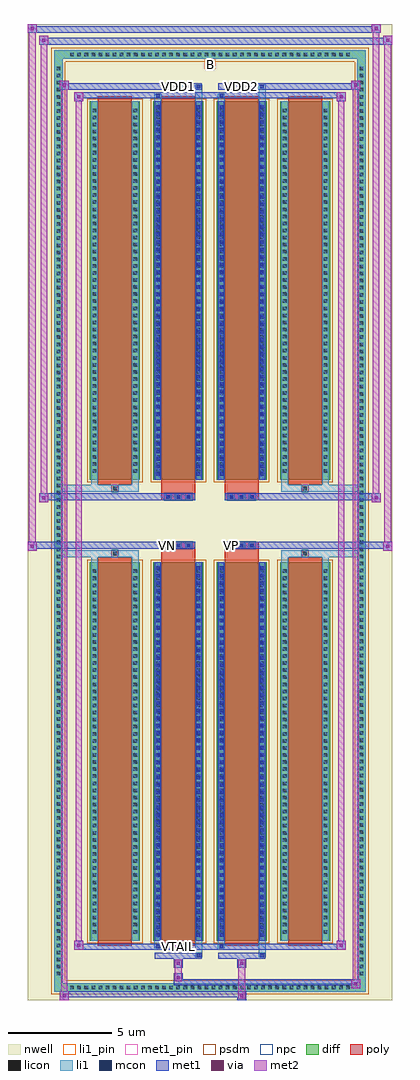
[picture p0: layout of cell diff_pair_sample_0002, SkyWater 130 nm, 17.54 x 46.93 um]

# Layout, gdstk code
import gdstk
lib = gdstk.Library(unit=1e-6, precision=5e-09)
def R(c, l, rs):  # rectangles x0, y0, x1, y1
    for r in rs: c.add(gdstk.rectangle(r[:2], r[2:], *l))
def A(c, l, x, y, w, h, nx, ny, dx, dy):  # array of equal rectangles
    R(c, l, [(x+i*dx, y+j*dy, x+i*dx+w, y+j*dy+h) for i in range(nx) for j in range(ny)])
def P(c, l, *ps):  # polygons
    for p in ps: c.add(gdstk.Polygon(p, *l))
nwell = (64, 20)
diff = (65, 20)
poly = (66, 20)
licon = (66, 44)
li1_pin = (67, 16)
li1 = (67, 20)
mcon = (67, 44)
met1_pin = (68, 16)
met1 = (68, 20)
via = (68, 44)
met2 = (69, 20)
psdm = (94, 20)
npc = (95, 20)

diff_pair_sample_0002 = lib.new_cell('diff_pair_sample_0002')
R(diff_pair_sample_0002, nwell, [(-8.77,-23.03,8.77,23.9), (-6.09,-21.22,-0.01,-0.8), (0.01,-21.22,6.09,-0.8), (-6.09,0.8,-0.01,21.22), (0.01,0.8,6.09,21.22)])
A(diff_pair_sample_0002, diff, -6.835, -22.63, 0.41, 0.41, 40, 2, 0.34, 44.85)
A(diff_pair_sample_0002, diff, -7.5, -21.965, 0.41, 0.41, 1, 129, 0, 0.34)
A(diff_pair_sample_0002, diff, 7.09, -21.965, 0.41, 0.41, 1, 129, 0, 0.34)
A(diff_pair_sample_0002, diff, -5.78, -20.175, 2.41, 18.19, 4, 2, 3.05, 22.16)
R(diff_pair_sample_0002, diff, [(-6.835,-22.63,6.835,-22.22), (-7.5,-21.965,-7.09,21.965), (7.09,-21.965,7.5,21.965), (-6.835,22.22,6.835,22.63)])
P(diff_pair_sample_0002, diff, [(7.5,22.63),(-7.5,22.63),(-7.5,-22.22),(-7.09,-22.22),(-7.09,22.22),(7.09,22.22),(7.09,-22.22),(-7.09,-22.22),(-7.5,-22.22),(-7.5,-22.63),(7.5,-22.63)])
A(diff_pair_sample_0002, poly, -5.39, -20.425, 1.63, 18.69, 4, 2, 3.05, 22.16)
A(diff_pair_sample_0002, poly, -2.19, -1.33, 0.33, 0.33, 3, 2, 0.5, 2.33)
A(diff_pair_sample_0002, poly, 0.86, -1.33, 0.33, 0.33, 3, 2, 0.5, 2.33)
R(diff_pair_sample_0002, poly, [(-4.74,-1.735,-4.41,-1.405), (-4.74,-1.735,-4.41,-1.405), (-2.34,-1.735,-0.71,-1.33), (0.71,-1.735,2.34,-1.33), (4.41,-1.735,4.74,-1.405), (4.41,-1.735,4.74,-1.405), (-2.34,-1.33,-0.71,-1), (0.71,-1.33,2.34,-1), (-2.34,1,-0.71,1.33), (0.71,1,2.34,1.33), (-2.34,1.33,-0.71,1.735), (0.71,1.33,2.34,1.735), (-4.74,1.405,-4.41,1.735), (-4.74,1.405,-4.41,1.735), (4.41,1.405,4.74,1.735), (4.41,1.405,4.74,1.735)])
A(diff_pair_sample_0002, licon, -6.715, -22.51, 0.17, 0.17, 40, 2, 0.34, 44.85)
A(diff_pair_sample_0002, licon, -7.38, -21.845, 0.17, 0.17, 1, 129, 0, 0.34)
A(diff_pair_sample_0002, licon, 7.21, -21.845, 0.17, 0.17, 1, 129, 0, 0.34)
A(diff_pair_sample_0002, licon, -5.64, -19.835, 0.17, 0.17, 1, 52, 0, 0.34)
A(diff_pair_sample_0002, licon, -3.68, -19.835, 0.17, 0.17, 1, 52, 0, 0.34)
A(diff_pair_sample_0002, licon, -2.59, -19.835, 0.17, 0.17, 1, 52, 0, 0.34)
A(diff_pair_sample_0002, licon, -0.63, -19.835, 0.17, 0.17, 1, 52, 0, 0.34)
A(diff_pair_sample_0002, licon, 0.46, -19.835, 0.17, 0.17, 1, 52, 0, 0.34)
A(diff_pair_sample_0002, licon, 2.42, -19.835, 0.17, 0.17, 1, 52, 0, 0.34)
A(diff_pair_sample_0002, licon, 3.51, -19.835, 0.17, 0.17, 1, 52, 0, 0.34)
A(diff_pair_sample_0002, licon, 5.47, -19.835, 0.17, 0.17, 1, 52, 0, 0.34)
A(diff_pair_sample_0002, licon, -2.11, -1.25, 0.17, 0.17, 3, 2, 0.5, 2.33)
A(diff_pair_sample_0002, licon, 0.94, -1.25, 0.17, 0.17, 3, 2, 0.5, 2.33)
A(diff_pair_sample_0002, licon, -5.64, 2.325, 0.17, 0.17, 1, 52, 0, 0.34)
A(diff_pair_sample_0002, licon, -3.68, 2.325, 0.17, 0.17, 1, 52, 0, 0.34)
A(diff_pair_sample_0002, licon, -2.59, 2.325, 0.17, 0.17, 1, 52, 0, 0.34)
A(diff_pair_sample_0002, licon, -0.63, 2.325, 0.17, 0.17, 1, 52, 0, 0.34)
A(diff_pair_sample_0002, licon, 0.46, 2.325, 0.17, 0.17, 1, 52, 0, 0.34)
A(diff_pair_sample_0002, licon, 2.42, 2.325, 0.17, 0.17, 1, 52, 0, 0.34)
A(diff_pair_sample_0002, licon, 3.51, 2.325, 0.17, 0.17, 1, 52, 0, 0.34)
A(diff_pair_sample_0002, licon, 5.47, 2.325, 0.17, 0.17, 1, 52, 0, 0.34)
R(diff_pair_sample_0002, licon, [(-4.66,-1.655,-4.49,-1.485), (4.49,-1.655,4.66,-1.485), (-4.66,1.485,-4.49,1.655), (4.49,1.485,4.66,1.655)])
R(diff_pair_sample_0002, li1_pin, [(-0.25,21.72,0.25,22.22)])
A(diff_pair_sample_0002, li1, -6.795, -22.59, 0.33, 0.33, 40, 2, 0.34, 44.85)
A(diff_pair_sample_0002, li1, -7.46, -21.925, 0.33, 0.33, 1, 129, 0, 0.34)
A(diff_pair_sample_0002, li1, 7.13, -21.925, 0.33, 0.33, 1, 129, 0, 0.34)
A(diff_pair_sample_0002, li1, -2.59, -19.985, 0.17, 0.17, 1, 50, 0, 0.36)
A(diff_pair_sample_0002, li1, -0.63, -19.985, 0.17, 0.17, 1, 50, 0, 0.36)
A(diff_pair_sample_0002, li1, 0.46, -19.985, 0.17, 0.17, 1, 50, 0, 0.36)
A(diff_pair_sample_0002, li1, 2.42, -19.985, 0.17, 0.17, 1, 50, 0, 0.36)
A(diff_pair_sample_0002, li1, -5.72, -19.915, 0.33, 0.33, 1, 52, 0, 0.34)
A(diff_pair_sample_0002, li1, -3.76, -19.915, 0.33, 0.33, 1, 52, 0, 0.34)
A(diff_pair_sample_0002, li1, -2.67, -19.915, 0.33, 0.33, 1, 52, 0, 0.34)
A(diff_pair_sample_0002, li1, -0.71, -19.915, 0.33, 0.33, 1, 52, 0, 0.34)
A(diff_pair_sample_0002, li1, 0.38, -19.915, 0.33, 0.33, 1, 52, 0, 0.34)
A(diff_pair_sample_0002, li1, 2.34, -19.915, 0.33, 0.33, 1, 52, 0, 0.34)
A(diff_pair_sample_0002, li1, 3.43, -19.915, 0.33, 0.33, 1, 52, 0, 0.34)
A(diff_pair_sample_0002, li1, 5.39, -19.915, 0.33, 0.33, 1, 52, 0, 0.34)
A(diff_pair_sample_0002, li1, -2.19, -1.33, 0.33, 0.33, 3, 2, 0.5, 2.33)
A(diff_pair_sample_0002, li1, 0.86, -1.33, 0.33, 0.33, 3, 2, 0.5, 2.33)
A(diff_pair_sample_0002, li1, -2.59, 2.175, 0.17, 0.17, 1, 50, 0, 0.36)
A(diff_pair_sample_0002, li1, -0.63, 2.175, 0.17, 0.17, 1, 50, 0, 0.36)
A(diff_pair_sample_0002, li1, 0.46, 2.175, 0.17, 0.17, 1, 50, 0, 0.36)
A(diff_pair_sample_0002, li1, 2.42, 2.175, 0.17, 0.17, 1, 50, 0, 0.36)
A(diff_pair_sample_0002, li1, -5.72, 2.245, 0.33, 0.33, 1, 52, 0, 0.34)
A(diff_pair_sample_0002, li1, -3.76, 2.245, 0.33, 0.33, 1, 52, 0, 0.34)
A(diff_pair_sample_0002, li1, -2.67, 2.245, 0.33, 0.33, 1, 52, 0, 0.34)
A(diff_pair_sample_0002, li1, -0.71, 2.245, 0.33, 0.33, 1, 52, 0, 0.34)
A(diff_pair_sample_0002, li1, 0.38, 2.245, 0.33, 0.33, 1, 52, 0, 0.34)
A(diff_pair_sample_0002, li1, 2.34, 2.245, 0.33, 0.33, 1, 52, 0, 0.34)
A(diff_pair_sample_0002, li1, 3.43, 2.245, 0.33, 0.33, 1, 52, 0, 0.34)
A(diff_pair_sample_0002, li1, 5.39, 2.245, 0.33, 0.33, 1, 52, 0, 0.34)
R(diff_pair_sample_0002, li1, [(-7.5,-22.63,-7.09,-22.22), (-7.5,-22.63,-7.09,-22.22), (-7.09,-22.63,7.09,-22.22), (7.09,-22.63,7.5,-22.22), (7.09,-22.63,7.5,-22.22), (-7.5,-22.22,-7.09,22.22), (7.09,-22.22,7.5,22.22), (-0.71,-20.98,-0.38,-20.175), (-0.63,-20.98,-0.46,-20.81), (2.34,-20.98,2.67,-20.175), (2.42,-20.98,2.59,-20.81), (-2.67,-20.55,-2.34,-20.175), (-2.59,-20.55,-2.42,-20.38), (0.38,-20.55,0.71,-20.175), (0.46,-20.55,0.63,-20.38), (-5.72,-20.175,-5.39,-1.985), (-3.76,-20.175,-3.43,-1.985), (-2.67,-20.175,-2.34,-1.985), (-0.71,-20.175,-0.38,-1.985), (0.38,-20.175,0.71,-1.985), (2.34,-20.175,2.67,-1.985), (3.43,-20.175,3.76,-1.985), (5.39,-20.175,5.72,-1.985), (-2.59,-19.985,-2.42,-2.175), (-0.63,-19.985,-0.46,-2.175), (0.46,-19.985,0.63,-2.175), (2.42,-19.985,2.59,-2.175), (-5.72,-1.985,-5.39,-1.405), (-3.76,-1.985,-3.43,-1.405), (3.43,-1.985,3.76,-1.405), (5.39,-1.985,5.72,-1.405), (-7.5,-1.735,-4.74,-1.405), (-5.72,-1.735,-4.74,-1.405), (-4.74,-1.735,-4.41,-1.405), (-4.41,-1.735,-3.43,-1.405), (3.43,-1.735,4.41,-1.405), (4.41,-1.735,4.74,-1.405), (4.41,-1.735,7.5,-1.405), (4.74,-1.735,5.72,-1.405), (-7.5,1.405,-4.74,1.735), (-5.72,1.405,-4.74,1.735), (-5.72,1.405,-5.39,1.985), (-4.74,1.405,-4.41,1.735), (-4.41,1.405,-3.43,1.735), (-3.76,1.405,-3.43,1.985), (3.43,1.405,4.41,1.735), (3.43,1.405,3.76,1.985), (4.41,1.405,4.74,1.735), (4.41,1.405,7.5,1.735), (4.74,1.405,5.72,1.735), (5.39,1.405,5.72,1.985), (-5.72,1.985,-5.39,20.175), (-3.76,1.985,-3.43,20.175), (-2.67,1.985,-2.34,20.175), (-0.71,1.985,-0.38,20.175), (0.38,1.985,0.71,20.175), (2.34,1.985,2.67,20.175), (3.43,1.985,3.76,20.175), (5.39,1.985,5.72,20.175), (-2.59,2.175,-2.42,19.985), (-0.63,2.175,-0.46,19.985), (0.46,2.175,0.63,19.985), (2.42,2.175,2.59,19.985), (-2.67,20.175,-2.34,20.55), (-0.71,20.175,-0.38,20.98), (0.38,20.175,0.71,20.55), (2.34,20.175,2.67,20.98), (-2.59,20.38,-2.42,20.55), (0.46,20.38,0.63,20.55), (-0.63,20.81,-0.46,20.98), (2.42,20.81,2.59,20.98), (-7.5,22.22,-7.09,22.63), (-7.5,22.22,-7.09,22.63), (-7.09,22.22,7.09,22.63), (7.09,22.22,7.5,22.63), (7.09,22.22,7.5,22.63)])
A(diff_pair_sample_0002, mcon, -2.59, -19.985, 0.17, 0.17, 1, 50, 0, 0.36)
A(diff_pair_sample_0002, mcon, -0.63, -19.985, 0.17, 0.17, 1, 50, 0, 0.36)
A(diff_pair_sample_0002, mcon, 0.46, -19.985, 0.17, 0.17, 1, 50, 0, 0.36)
A(diff_pair_sample_0002, mcon, 2.42, -19.985, 0.17, 0.17, 1, 50, 0, 0.36)
A(diff_pair_sample_0002, mcon, -2.11, -1.25, 0.17, 0.17, 3, 2, 0.5, 2.33)
A(diff_pair_sample_0002, mcon, 0.94, -1.25, 0.17, 0.17, 3, 2, 0.5, 2.33)
A(diff_pair_sample_0002, mcon, -2.59, 2.175, 0.17, 0.17, 1, 50, 0, 0.36)
A(diff_pair_sample_0002, mcon, -0.63, 2.175, 0.17, 0.17, 1, 50, 0, 0.36)
A(diff_pair_sample_0002, mcon, 0.46, 2.175, 0.17, 0.17, 1, 50, 0, 0.36)
A(diff_pair_sample_0002, mcon, 2.42, 2.175, 0.17, 0.17, 1, 50, 0, 0.36)
R(diff_pair_sample_0002, mcon, [(-0.63,-20.98,-0.46,-20.81), (2.42,-20.98,2.59,-20.81), (-2.59,-20.55,-2.42,-20.38), (0.46,-20.55,0.63,-20.38), (-2.59,20.38,-2.42,20.55), (0.46,20.38,0.63,20.55), (-0.63,20.81,-0.46,20.98), (2.42,20.81,2.59,20.98)])
R(diff_pair_sample_0002, met1_pin, [(-1.66,-20.59,-1.39,-20.32), (-2.16,-1.29,-1.89,-1.02), (0.89,-1.29,1.16,-1.02), (-1.66,20.77,-1.39,21.04), (1.39,20.77,1.66,21.04)])
A(diff_pair_sample_0002, met1, -2.65, -20.045, 0.29, 0.29, 1, 50, 0, 0.36)
A(diff_pair_sample_0002, met1, -0.69, -20.045, 0.29, 0.29, 1, 50, 0, 0.36)
A(diff_pair_sample_0002, met1, 0.4, -20.045, 0.29, 0.29, 1, 50, 0, 0.36)
A(diff_pair_sample_0002, met1, 2.36, -20.045, 0.29, 0.29, 1, 50, 0, 0.36)
A(diff_pair_sample_0002, met1, -2.17, -1.31, 0.29, 0.29, 3, 2, 0.5, 2.33)
A(diff_pair_sample_0002, met1, 0.88, -1.31, 0.29, 0.29, 3, 2, 0.5, 2.33)
A(diff_pair_sample_0002, met1, -2.65, 2.115, 0.29, 0.29, 1, 50, 0, 0.36)
A(diff_pair_sample_0002, met1, -0.69, 2.115, 0.29, 0.29, 1, 50, 0, 0.36)
A(diff_pair_sample_0002, met1, 0.4, 2.115, 0.29, 0.29, 1, 50, 0, 0.36)
A(diff_pair_sample_0002, met1, 2.36, 2.115, 0.29, 0.29, 1, 50, 0, 0.36)
R(diff_pair_sample_0002, met1, [(-7.23,-23.03,-6.8,-22.6), (1.31,-23.03,1.74,-22.6), (-7.23,-22.89,1.74,-22.6), (6.8,-22.46,7.23,-22.03), (-1.74,-22.32,7.23,-22.03), (-1.74,-22.18,-1.31,-21.75), (-1.74,-21.47,-1.31,-21.04), (1.31,-21.47,1.74,-21.04), (-2.65,-21.04,-0.4,-20.75), (-0.69,-21.04,-0.4,-20.75), (0.4,-21.04,2.65,-20.75), (2.36,-21.04,2.65,-20.75), (-6.52,-20.61,-6.09,-20.18), (-6.52,-20.61,-2.65,-20.32), (-2.65,-20.61,-2.36,-20.32), (-2.65,-20.61,-0.4,-20.32), (-0.4,-20.61,0.4,-20.32), (0.4,-20.61,0.69,-20.32), (0.4,-20.61,2.65,-20.32), (2.65,-20.61,6.52,-20.32), (6.09,-20.61,6.52,-20.18), (-2.65,-20.175,-2.36,-1.985), (-0.69,-20.175,-0.4,-1.985), (0.4,-20.175,0.69,-1.985), (2.36,-20.175,2.65,-1.985), (-8.77,-1.43,-8.34,-1), (8.34,-1.43,8.77,-1), (-8.77,-1.33,-0.71,-1), (-2.34,-1.33,-0.71,-1), (0.71,-1.33,2.34,-1), (0.71,-1.33,8.77,-1), (-8.2,0.9,-7.77,1.33), (7.77,0.9,8.2,1.33), (-8.2,1,-2.34,1.33), (-2.34,1,-0.71,1.33), (0.71,1,2.34,1.33), (2.34,1,8.2,1.33), (-2.65,1.985,-2.36,20.175), (-0.69,1.985,-0.4,20.175), (0.4,1.985,0.69,20.175), (2.36,1.985,2.65,20.175), (-6.52,20.18,-6.09,20.61), (6.09,20.18,6.52,20.61), (-6.52,20.32,-2.65,20.61), (-2.65,20.32,-2.36,20.61), (-2.65,20.32,-0.4,20.61), (-0.4,20.32,0.4,20.61), (0.4,20.32,0.69,20.61), (0.4,20.32,2.65,20.61), (2.65,20.32,6.52,20.61), (-7.23,20.75,-6.8,21.18), (-7.23,20.75,-2.65,21.04), (-2.65,20.75,-0.4,21.04), (-0.69,20.75,-0.4,21.04), (0.4,20.75,2.65,21.04), (2.36,20.75,2.65,21.04), (2.65,20.75,7.23,21.04), (6.8,20.75,7.23,21.18), (-8.2,22.9,-7.77,23.33), (-8.2,22.9,-6.09,23.23), (-6.09,22.9,6.09,23.23), (6.09,22.9,8.77,23.23), (8.34,22.9,8.77,23.33), (-8.77,23.47,-8.34,23.9), (-8.77,23.47,-6.09,23.8), (-6.09,23.47,6.09,23.8), (6.09,23.47,8.2,23.8), (7.77,23.47,8.2,23.9)])
R(diff_pair_sample_0002, via, [(-7.09,-22.89,-6.94,-22.74), (1.45,-22.89,1.6,-22.74), (6.94,-22.32,7.09,-22.17), (-1.6,-22.04,-1.45,-21.89), (-1.6,-21.33,-1.45,-21.18), (1.45,-21.33,1.6,-21.18), (-6.38,-20.47,-6.23,-20.32), (6.23,-20.47,6.38,-20.32), (-8.63,-1.29,-8.48,-1.14), (8.48,-1.29,8.63,-1.14), (-8.06,1.04,-7.91,1.19), (7.91,1.04,8.06,1.19), (-6.38,20.32,-6.23,20.47), (6.23,20.32,6.38,20.47), (-7.09,20.89,-6.94,21.04), (6.94,20.89,7.09,21.04), (-8.06,23.04,-7.91,23.19), (8.48,23.04,8.63,23.19), (-8.63,23.61,-8.48,23.76), (7.91,23.61,8.06,23.76)])
R(diff_pair_sample_0002, met2, [(-7.23,-23.03,-6.8,-22.6), (-7.16,-23.03,-6.87,21.18), (-6.87,-23.03,-6.8,-22.6), (-7.18,-22.98,-6.85,-22.65), (1.36,-22.98,1.69,-22.65), (1.36,-22.65,1.69,-21.42), (6.8,-22.46,7.23,-22.03), (6.87,-22.46,7.16,21.18), (7.16,-22.46,7.23,-22.03), (6.85,-22.41,7.18,-22.08), (-1.69,-22.13,-1.36,-21.8), (-1.69,-21.8,-1.36,-21.42), (-1.69,-21.42,-1.36,-21.09), (1.36,-21.42,1.69,-21.09), (-6.52,-20.61,-6.09,-20.18), (-6.45,-20.61,-6.16,20.61), (-6.16,-20.61,-6.09,-20.18), (6.09,-20.61,6.52,-20.18), (6.16,-20.61,6.45,20.61), (6.45,-20.61,6.52,-20.18), (-6.47,-20.56,-6.14,-20.23), (6.14,-20.56,6.47,-20.23), (-8.77,-1.43,-8.34,-1), (-8.72,-1.43,-8.39,23.9), (-8.39,-1.43,-8.34,-1), (8.34,-1.43,8.77,-1), (8.39,-1.43,8.72,23.33), (8.72,-1.43,8.77,-1), (-8.72,-1.38,-8.39,-1.05), (8.39,-1.38,8.72,-1.05), (-8.2,0.9,-7.77,1.33), (-8.15,0.9,-7.82,23.33), (-7.82,0.9,-7.77,1.33), (7.77,0.9,8.2,1.33), (7.82,0.9,8.15,23.9), (8.15,0.9,8.2,1.33), (-8.15,0.95,-7.82,1.28), (7.82,0.95,8.15,1.28), (-6.52,20.18,-6.09,20.61), (-6.16,20.18,-6.09,20.61), (6.09,20.18,6.52,20.61), (6.45,20.18,6.52,20.61), (-6.47,20.23,-6.14,20.56), (6.14,20.23,6.47,20.56), (-7.23,20.75,-6.8,21.18), (-6.87,20.75,-6.8,21.18), (6.8,20.75,7.23,21.18), (7.16,20.75,7.23,21.18), (-7.18,20.8,-6.85,21.13), (6.85,20.8,7.18,21.13), (-8.2,22.9,-7.77,23.33), (-7.82,22.9,-7.77,23.33), (8.34,22.9,8.77,23.33), (8.72,22.9,8.77,23.33), (-8.15,22.95,-7.82,23.28), (8.39,22.95,8.72,23.28), (-8.77,23.47,-8.34,23.9), (-8.39,23.47,-8.34,23.9), (7.77,23.47,8.2,23.9), (8.15,23.47,8.2,23.9), (-8.72,23.52,-8.39,23.85), (7.82,23.52,8.15,23.85)])
A(diff_pair_sample_0002, psdm, -5.91, -20.305, 2.67, 18.45, 4, 2, 3.05, 22.16)
P(diff_pair_sample_0002, psdm, [(7.63,22.76),(-7.63,22.76),(-7.63,-22.09),(-6.96,-22.09),(-6.96,22.09),(6.96,22.09),(6.96,-22.09),(-6.96,-22.09),(-7.63,-22.09),(-7.63,-22.76),(7.63,-22.76)])
A(diff_pair_sample_0002, npc, -2.21, -1.35, 0.37, 0.37, 3, 2, 0.5, 2.33)
A(diff_pair_sample_0002, npc, 0.84, -1.35, 0.37, 0.37, 3, 2, 0.5, 2.33)
R(diff_pair_sample_0002, npc, [(-4.76,-1.755,-4.39,-1.385), (4.39,-1.755,4.76,-1.385), (-2.21,-1.35,-1.34,-0.98), (-2.21,-1.35,-1.34,-0.98), (-1.71,-1.35,-0.84,-0.98), (-1.71,-1.35,-0.84,-0.98), (0.84,-1.35,1.71,-0.98), (0.84,-1.35,1.71,-0.98), (1.34,-1.35,2.21,-0.98), (1.34,-1.35,2.21,-0.98), (-2.21,0.98,-1.34,1.35), (-2.21,0.98,-1.34,1.35), (-1.71,0.98,-0.84,1.35), (-1.71,0.98,-0.84,1.35), (0.84,0.98,1.71,1.35), (0.84,0.98,1.71,1.35), (1.34,0.98,2.21,1.35), (1.34,0.98,2.21,1.35), (-4.76,1.385,-4.39,1.755), (4.39,1.385,4.76,1.755)])
diff_pair_sample_0002.add(gdstk.Label('VTAIL', (-1.525,-20.455), layer=68, texttype=5))
diff_pair_sample_0002.add(gdstk.Label('VN', (-2.025,-1.155), layer=68, texttype=5))
diff_pair_sample_0002.add(gdstk.Label('VP', (1.025,-1.155), layer=68, texttype=5))
diff_pair_sample_0002.add(gdstk.Label('B', (0,21.97), layer=67, texttype=5))
diff_pair_sample_0002.add(gdstk.Label('VDD2', (1.525,20.905), layer=68, texttype=5))
diff_pair_sample_0002.add(gdstk.Label('VDD1', (-1.525,20.905), layer=68, texttype=5))

lib.write_gds('diff_pair_sample_0002.gds')
